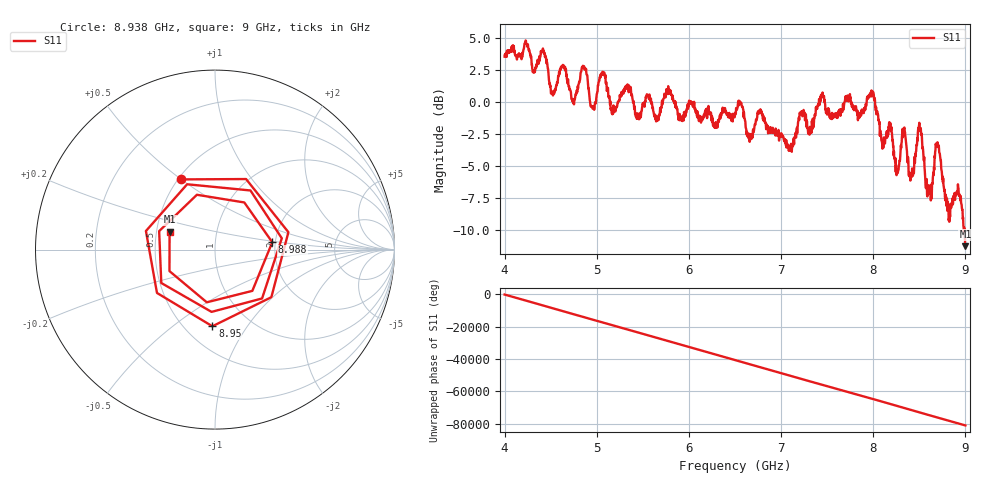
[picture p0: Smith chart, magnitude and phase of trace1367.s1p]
! Created with skrf 1.8.0 (http://scikit-rf.org).
# Hz S RI R 50.0
!freq ReS11 ImS11
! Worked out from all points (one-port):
!   1601 points, 4 GHz to 9 GHz, reference 50 ohm
!   lowest |S11| = -11.3 dB at 9 GHz (marker M1), VSWR 1.75, Z = 29.3 + j6.34 ohm
!   |S11| at or under -10 dB: 8.982312 GHz to 8.986253 GHz (3.941 MHz wide, 0.0439 % of centre); 8.989404 GHz to end of sweep
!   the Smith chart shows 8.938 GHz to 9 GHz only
!   S11 on the Smith chart (normalised r, x): 8.938 GHz: 0.52, +0.50; 8.95 GHz: 0.67, -0.71; 8.988 GHz: 1.93, +0.18; 9 GHz: 0.59, +0.13
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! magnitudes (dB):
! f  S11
! 4 GHz  3.6
! 4.419 GHz  4.0
! 4.528 GHz  0.7
! 4.625 GHz  2.8
! 4.747 GHz  -0.1
! 4.859 GHz  2.7
! 4.953 GHz  -0.4
! 5.062 GHz  2.4
! 5.175 GHz  -0.7
! 5.25 GHz  0.6
! 5.875 GHz  -0.5
! 6.5 GHz  -1.0
! 7.125 GHz  -3.4
! 7.438 GHz  0.4
! 7.75 GHz  0.3
! 7.991 GHz  0.8
! 8.253 GHz  -5.7
! 8.331 GHz  -2.5
! 8.375 GHz  -4.4
! 8.419 GHz  -5.8
! 8.503 GHz  -1.9
! 8.609 GHz  -6.7
! 8.697 GHz  -3.1
! 8.809 GHz  -8.3
! 8.938 GHz  -7.2
! 8.95 GHz  -7.4
! 8.988 GHz  -9.9
! 9 GHz  -11.3
